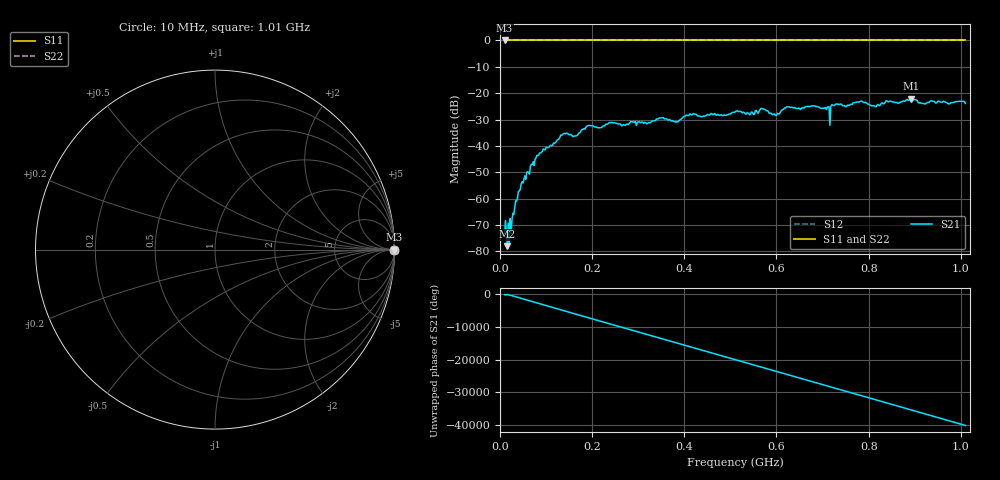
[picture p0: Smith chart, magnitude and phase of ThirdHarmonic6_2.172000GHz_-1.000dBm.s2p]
! 8/17/2025 1:55:03 AM
! C:\ANRITSUVNA\TEMP\TEMP.S2P
! CHANNEL.1
! TR.MEASUREMENT
! RAW.DATA
! RF.CORRECTION.OFF
! AVERAGING.OFF
! IF.BANDWIDTH: 5KHZ
! SWEEPTYPE:  FREQ.SWEEP(Linear)
! Reference Plane Port Info
! PORT:  PORT1  PORT2
! DISTANCE:  0  m  0  m
! TIME:  0  s  0  s
! PHASE.OFFSET:  0  deg.  0  deg.
! LOSS:  0  dB  0  dB
! REF.LOSS:  0  dB  0  dB
! REF.FREQ:  0  Hz  0  Hz
! Power Info
! POWER:  -20  dBm  -20  dBm
! EFF.POWER:  -20  dBm  -20  dBm
! SOURCE.ATTEN:  0  dB  0  dB
! TEST.ATTEN:  0  dB  0  dB
# GHZ S RI R 50.0
! FREQ.GHZ  S11RE  S11IM  S21RE  S21IM  S12RE  S12IM  S22RE  S22IM
!; PortSelection: Port_12
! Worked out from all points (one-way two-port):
!   501 points, 10 MHz to 1.01 GHz, reference 50 ohm
!   highest |S21| = -22.04 dB at 892 MHz (marker M1); lowest = -78.0 dB at 16 MHz (marker M2)
!   lowest |S11| = 0.0 dB at 10 MHz (marker M3)
!   |S11| at or under -10 dB: nowhere
!   |S22| runs from 0.0 to 0.0 dB; largest |S21 - S12| = 1.1
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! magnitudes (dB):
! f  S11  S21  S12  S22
! 10 MHz  0.0  -73.3  0.0  0.0
! 16 MHz  0.0  -78.0  0.0  0.0
! 20 MHz  0.0  -77.4  0.0  0.0
! 44 MHz  0.0  -56.4  0.0  0.0
! 82 MHz  0.0  -43.7  0.0  0.0
! 136 MHz  0.0  -35.6  0.0  0.0
! 162 MHz  0.0  -36.2  0.0  0.0
! 178 MHz  0.0  -33.8  0.0  0.0
! 344 MHz  0.0  -29.7  0.0  0.0
! 382 MHz  0.0  -30.8  0.0  0.0
! 416 MHz  0.0  -28.3  0.0  0.0
! 510 MHz  0.0  -27.1  0.0  0.0
! 570 MHz  0.0  -26.0  0.0  0.0
! 596 MHz  0.0  -27.9  0.0  0.0
! 622 MHz  0.0  -25.2  0.0  0.0
! 678 MHz  0.0  -24.7  0.0  0.0
! 712 MHz  0.0  -25.2  0.0  0.0
! 732 MHz  0.0  -24.1  0.0  0.0
! 814 MHz  0.0  -25.0  0.0  0.0
! 844 MHz  0.0  -23.2  0.0  0.0
! 892 MHz  0.0  -22.0  0.0  0.0
! 1.01 GHz  0.0  -23.9  0.0  0.0
